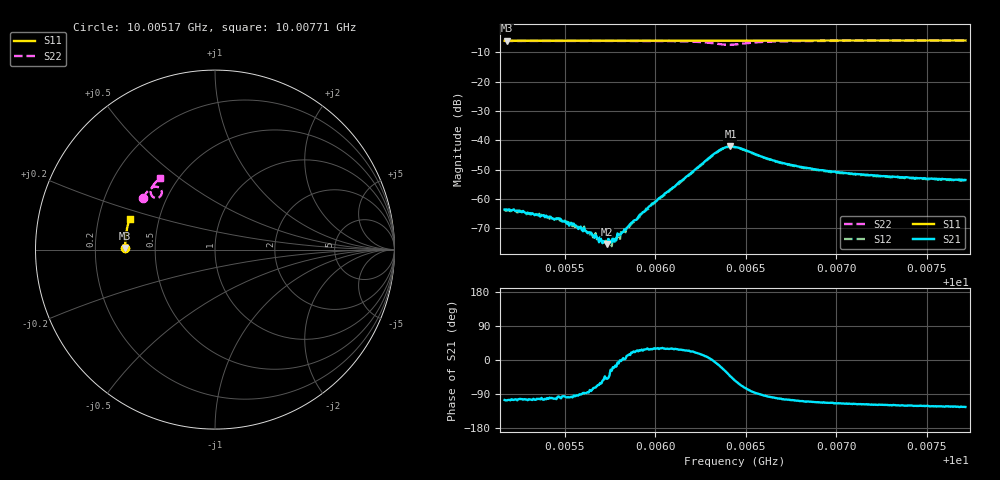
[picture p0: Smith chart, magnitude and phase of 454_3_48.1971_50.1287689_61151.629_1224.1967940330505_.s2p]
#  HZ  S  RI  R  50.00
! Rohde & Schwarz Vector Network Analyzer
! Rohde-Schwarz,ZNB20-2Port,1311601062101988,3.16
! Created: UTC 3/20/2024, 11:56:22 AM
! freq[Hz]  re:S11  im:S11  re:S21  im:S21  re:S12  im:S12  re:S22  im:S22
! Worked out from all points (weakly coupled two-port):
!   401 points, 10.00517 GHz to 10.00771 GHz, reference 50 ohm
!   highest |S21| = -42.11 dB at 10.00641 GHz (marker M1); lowest = -75.4 dB at 10.00573 GHz (marker M2)
!   lowest |S11| = -6.0 dB at 10.00518 GHz (marker M3), VSWR 3.00, Z = 16.7 + j0.387 ohm
!   |S11| at or under -10 dB: nowhere
!   |S22| runs from -7.4 to -6.0 dB; largest |S21 - S12| = 0.00048
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1.0005167e10  -0.5004 0.00792  -0.000175 -0.000633  -0.00014 -0.000639  -0.4033 0.2872
1.0005179e10  -0.5003 0.00872  -0.000184 -0.00063  -0.00015 -0.000609  -0.403 0.2878
1.0005262e10  -0.5004 0.0142  -0.000133 -0.000575  -0.000126 -0.000584  -0.3999 0.2927
1.0005466e10  -0.5001 0.0275  -5.1e-05 -0.000456  -4.59e-05 -0.000458  -0.3914 0.3048
1.0005593e10  -0.5 0.0357  -1.04e-06 -0.000296  1.44e-05 -0.000315  -0.3855 0.3125
1.0005695e10  -0.4997 0.0424  0.000109 -0.000194  0.000127 -0.000158  -0.3805 0.3186
1.0005721e10  -0.4996 0.0439  0.000132 -0.000124  0.000134 -0.000155  -0.3792 0.3203
1.0005733e10  -0.4994 0.0447  0.00011 -0.000129  0.000141 -0.000119  -0.3785 0.3213
1.0005746e10  -0.4995 0.0457  0.000147 -0.000128  0.000155 -9.37e-05  -0.3778 0.322
1.0005771e10  -0.4995 0.0474  0.000175 -6.44e-05  0.000181 -5.87e-05  -0.3764 0.3234
1.0005778e10  -0.4993 0.0477  0.000199 -5.37e-05  0.000182 -4.45e-05  -0.376 0.3238
1.0005791e10  -0.4993 0.0484  0.000256 -2.99e-05  0.000225 8.96e-06  -0.3753 0.3248
1.0005943e10  -0.4985 0.0584  0.000549 0.00029  0.000549 0.000326  -0.3651 0.3347
1.000602e10  -0.4978 0.0634  0.000897 0.000496  0.000844 0.000532  -0.3588 0.3398
1.0006332e10  -0.4952 0.0834  0.00604 -0.000652  0.00596 -0.000302  -0.2995 0.3323
1.0006376e10  -0.4946 0.086  0.00668 -0.00305  0.00668 -0.00266  -0.2969 0.3101
1.0006415e10  -0.4943 0.0884  0.00573 -0.00535  0.00592 -0.00492  -0.3092 0.2928
1.000644e10  -0.4942 0.0898  0.00447 -0.00628  0.00477 -0.00592  -0.3218 0.2879
1.0006676e10  -0.4922 0.1048  -0.000854 -0.00422  -0.000622 -0.00421  -0.3577 0.3303
1.0006867e10  -0.4901 0.117  -0.00114 -0.00306  -0.000974 -0.00302  -0.3493 0.3507
1.0007293e10  -0.4838 0.1439  -0.00118 -0.0021  -0.00103 -0.00211  -0.3274 0.3783
1.0007713e10  -0.4762 0.1699  -0.00117 -0.00174  -0.00108 -0.00178  -0.3059 0.399
